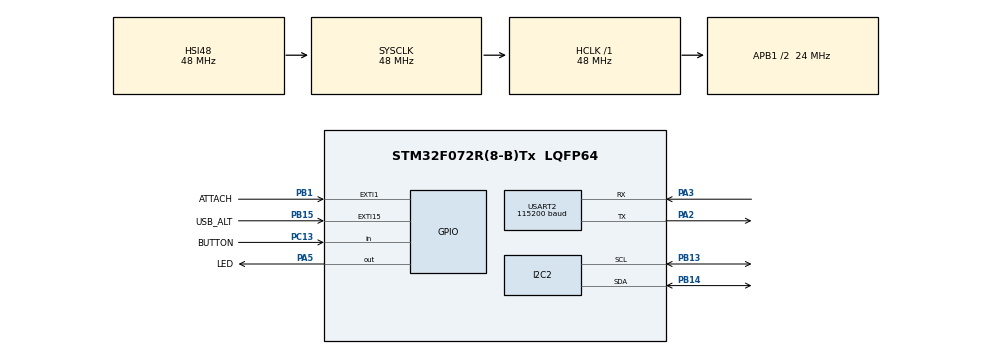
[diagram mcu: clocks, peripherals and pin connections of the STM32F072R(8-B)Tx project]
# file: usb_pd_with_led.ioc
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I2C2.Timing=0x00506682
Mcu.Family=STM32F0
Mcu.Name=STM32F072R(8-B)Tx
Mcu.Package=LQFP64
NVIC.EXTI0_1_IRQn=true\:0\:0\:true\:false\:true\:true\:true
NVIC.EXTI4_15_IRQn=true\:0\:0\:true\:false\:true\:true\:true
NVIC.TIM17_IRQn=true\:0\:0\:true\:false\:true\:true\:true
PA2.Mode=Asynchronous
PA2.Signal=USART2_TX
PA3.Mode=Asynchronous
PA3.Signal=USART2_RX
PA5.GPIO_Label=LED
PA5.Signal=GPIO_Output
PB1.GPIO_Label=ATTACH
PB1.GPIO_ModeDefaultEXTI=GPIO_MODE_IT_RISING_FALLING
PB1.GPIO_PuPd=GPIO_PULLUP
PB1.Signal=GPXTI1
PB13.Mode=I2C
PB13.Signal=I2C2_SCL
PB14.Mode=I2C
PB14.Signal=I2C2_SDA
PB15.GPIO_Label=USB_ALT
PB15.GPIO_ModeDefaultEXTI=GPIO_MODE_IT_FALLING
PB15.GPIO_PuPd=GPIO_PULLUP
PB15.Signal=GPXTI15
PC13.GPIO_Label=BUTTON
PC13.Signal=GPIO_Input
ProjectManager.HeapSize=0x200
ProjectManager.StackSize=0x400
ProjectManager.TargetToolchain=STM32CubeIDE
RCC.AHBFreq_Value=48000000
RCC.APB1CLKDivider=RCC_HCLK_DIV2
RCC.APB1Freq_Value=24000000
RCC.APB1TimFreq_Value=48000000
RCC.HCLKFreq_Value=48000000
RCC.SYSCLKFreq_VALUE=48000000
RCC.SYSCLKSource=RCC_SYSCLKSOURCE_HSI48
TIM17.Period=1
TIM17.Prescaler=24000
USART2.BaudRate=115200
USART2.VirtualMode-Asynchronous=VM_ASYNC
VP_TIM17_VS_ClockSourceINT.Mode=Enable_Timer
board=NUCLEO-F072RB

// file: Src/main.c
/* USER CODE BEGIN Header */

/*
 * The general idea of this program is to test/negotiate different USB PD power levels
 * This is how we'll do it:
 * IN AN INTERRUPT CONTEXT
 * 		- when the attach line goes low, we'll call the pd_onAttach() function
 * 			- this initializes the STUSB4500 and asserts an internal flag *
 * 		- when the alert line goes low, we'll call the pd_onAlert() function
 * 			- follow the instructions taken from the sample code
 * 			- update the flag variables as appropriate
 *
 *	IN THE MAIN LOOP:
 *		- when we're not attached, we'll sit in an idle loop (checked by reading pd_attached())
 *			- simple conditional
 *		- on the rising edge of attached
 *			- call pd_auto_nego()
 *			- THIS IS A BLOCKING CALL (which should be fine depending on how we structure our code)
 *				- may need to set a timeout in here
 * 		- once we're properly attached and operating on a PDO
 * 			- check every now and then that the RDO that we have is valid
 * 			- read the attach line to check if we're still attached (if we somehow missed the rising edge)
 * 			- check the attached
 * 				- if any one of these are false, call the pd_onDetach() function
 * 		- on the falling edge of attached
 * 			- don't think we need to do anything here
 *
 *	THE pd_auto_nego WORKS BY:
 *		- clearing the pdo_received flag
 *		- send a soft_reset command
 *		- waiting (WITH A TIMEOUT) until the pdo_received flag goes high
 *			- might retry the soft reset a couple times if we don't receive PDOs, we'll see
 *		- check all the PDOs, see which one matches the best
 *		- reset the accept_received flag
 *		- select that particular PDO by calling the pd_request_pdo_index() function
 *		- waiting (WITH A TIMEOUT) until the accept_received or reject_received flag goes high
 *			- will retry the negotiation a couple times if we timeout or get a reject message
 *		- update the pointer variables with the voltage, current, and power negotiated
 *
 * 	IN THE EVENT THAT WE GET ANY SORT OF I2C FAILURE
 * 		- uhhhh honestly not sure, need to think about this more
 */

/**
  ******************************************************************************
  * @file           : main.c
  * @brief          : Main program body
  ******************************************************************************
  * @attention
  *
  * <h2><center>&copy; Copyright (c) 2019 STMicroelectronics.
  * All rights reserved.</center></h2>
  *
  * This software component is licensed by ST under BSD 3-Clause license,
  * the "License"; You may not use this file except in compliance with the
  * License. You may obtain a copy of the License at:
  *                        opensource.org/licenses/BSD-3-Clause
  *
  ******************************************************************************
  */
/* USER CODE END Header */

#include "main.h"
#include "i2c.h"
#include "tim.h"
#include "usart.h"
#include "gpio.h"

/* USER CODE BEGIN Includes */
#include "stusb_regdefs.h"
#include "stusb4500.h"
#include "printf_override.h"
#include "pca9685.h"
//#include "led_sequence.h"
#include "stdbool.h"
/* USER CODE END Includes */

/* USER CODE BEGIN PV */
bool last_attach;
UART_HandleTypeDef huart2;
TIM_HandleTypeDef htim17;

/* USER CODE END PV */

void SystemClock_Config(void);

int main(void)
{

  /* MCU Configuration--------------------------------------------------------*/

  /* Reset of all peripherals, Initializes the Flash interface and the Systick. */
  HAL_Init();

  /* Configure the system clock */
  SystemClock_Config();

  /* Initialize all configured peripherals */
  MX_GPIO_Init();
  MX_I2C2_Init();
  MX_USART2_UART_Init();
  MX_TIM17_Init();
  /* USER CODE BEGIN 2 */
	printf("\r\nStarting...\r\n");
	HAL_TIM_Base_Start_IT(&htim17);
	HAL_Delay(1000);
	pca_init();
	pca_display_SOC(0.99);
	HAL_Delay(1000);
	pca_display_SOC(0.99);
  /* USER CODE END 2 */

  /* Infinite loop */
  /* USER CODE BEGIN WHILE */
  while (1)
  {
	  //we just got attached
	  bool attached = pd_attached(); //read attachment status once per loop -> interrupt safe
	  if(!last_attach && attached) {
		  printf("Starting Negotiation!\n");
		  float voltage, current, power;
		  HAL_StatusTypeDef status;

		  status = pd_auto_nego(&voltage, &current, &power);
		  if(status == HAL_OK) {
			  printf("Negotiation Successful!\n");
			  //https://stackoverflow.com/questions/28334435/stm32-printf-float-variable
			  printf("\tVoltage: %.2f\n", voltage); //had to add "-u _printf_float" to linker flags
			  printf("\tCurrent: %.2f\n", current);
			  printf("\tPower: %.2f\n", power);
			  pca_display_chargePower(power);
		  }
		  else if(status == HAL_TIMEOUT) {
			  printf("Negotiation Timed Out!\n");
		  }
		  else if(status == HAL_BUSY) {
			  printf("Negotiation returned busy\n");
		  }
		  else if(status == HAL_ERROR) {
			  printf("Negotiation Error!\n");
		  }
	  }
	  last_attach = attached;

    /* USER CODE END WHILE */

  }
}

void SystemClock_Config(void)
{
  RCC_OscInitTypeDef RCC_OscInitStruct = {0};
  RCC_ClkInitTypeDef RCC_ClkInitStruct = {0};
  RCC_PeriphCLKInitTypeDef PeriphClkInit = {0};

  /** Initializes the CPU, AHB and APB busses clocks
  */
  RCC_OscInitStruct.OscillatorType = RCC_OSCILLATORTYPE_HSI48;
  RCC_OscInitStruct.HSI48State = RCC_HSI48_ON;
  RCC_OscInitStruct.PLL.PLLState = RCC_PLL_NONE;
  if (HAL_RCC_OscConfig(&RCC_OscInitStruct) != HAL_OK)
  {
    Error_Handler();
  }
  /** Initializes the CPU, AHB and APB busses clocks
  */
  RCC_ClkInitStruct.ClockType = RCC_CLOCKTYPE_HCLK|RCC_CLOCKTYPE_SYSCLK
                              |RCC_CLOCKTYPE_PCLK1;
  RCC_ClkInitStruct.SYSCLKSource = RCC_SYSCLKSOURCE_HSI48;
  RCC_ClkInitStruct.AHBCLKDivider = RCC_SYSCLK_DIV1;
  RCC_ClkInitStruct.APB1CLKDivider = RCC_HCLK_DIV2;

  if (HAL_RCC_ClockConfig(&RCC_ClkInitStruct, FLASH_LATENCY_1) != HAL_OK)
  {
    Error_Handler();
  }
  PeriphClkInit.PeriphClockSelection = RCC_PERIPHCLK_USART2;
  PeriphClkInit.Usart2ClockSelection = RCC_USART2CLKSOURCE_PCLK1;
  if (HAL_RCCEx_PeriphCLKConfig(&PeriphClkInit) != HAL_OK)
  {
    Error_Handler();
  }
}

/* USER CODE BEGIN 4 */
void HAL_GPIO_EXTI_Callback(uint16_t GPIO_Pin)
{
	//look up everything that autocompletes from `__get_`
    if (GPIO_Pin == ATTACH_Pin) {
    	if(!HAL_GPIO_ReadPin(ATTACH_GPIO_Port, GPIO_Pin)) { //x:0-15
    		pd_onAttach(); //will automatically time out if this is unsuccessful
    	} else {
    		pd_onDetach(); //only runs when a source has been attached
    	}
    }

    if (GPIO_Pin == USB_ALT_Pin) {
    	pd_onAlert();
    }
}

void HAL_TIM_PeriodElapsedCallback(TIM_HandleTypeDef *htim17) {
	if(pca_update() != HAL_OK) printf("TX Error\r\n");
}
/* USER CODE END 4 */

void Error_Handler(void)
{
}

/************************ (C) COPYRIGHT STMicroelectronics *****END OF FILE****/
